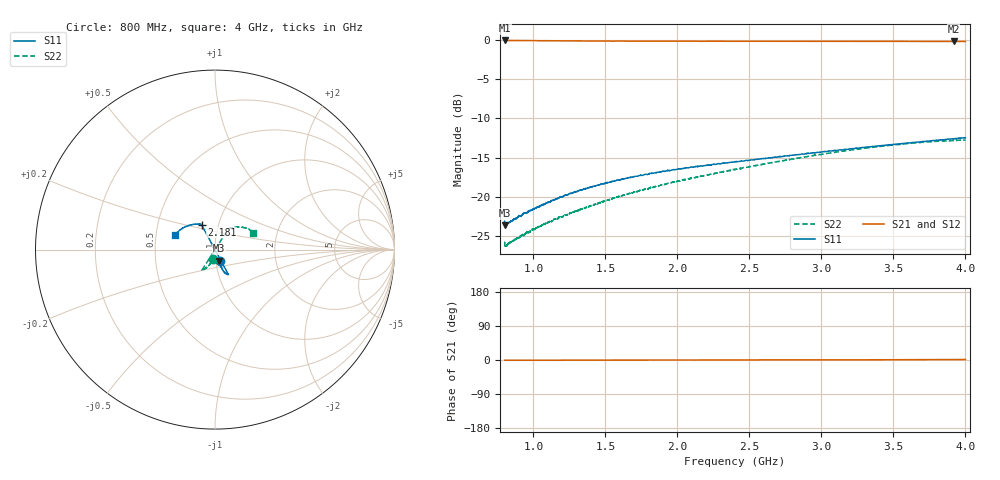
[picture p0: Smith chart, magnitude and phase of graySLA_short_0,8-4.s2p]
!Created with skrf (http://scikit-rf.org).
# GHz S RI R 50.0
!freq ReS11 ImS11 ReS21 ImS21 ReS12 ImS12 ReS22 ImS22
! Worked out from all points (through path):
!   5001 points, 800 MHz to 4 GHz, reference 50 ohm
!   highest |S21| = -0.10 dB at 802.6 MHz (marker M1); lowest = -0.2 dB at 3.917 GHz (marker M2)
!   lowest |S11| = -23.6 dB at 801.9 MHz (marker M3), VSWR 1.14, Z = 51.9 - j6.47 ohm
!   |S11| at or under -10 dB: start of sweep to end of sweep
!   |S22| runs from -26.3 to -12.8 dB; largest |S21 - S12| = 0.005
!   S11 on the Smith chart (normalised r, x): 800 MHz: 1.05, -0.14; 2.181 GHz: 0.83, +0.24; 4 GHz: 0.63, +0.11
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0.8  0.0281 -0.0642  0.9887 -0.0095  0.9889 -0.00923  -0.0129 -0.0496
0.80192  0.0222 -0.0621  0.9886 -0.00923  0.9885 -0.00907  -0.00733 -0.0482
0.80256  0.0227 -0.0623  0.989 -0.00898  0.989 -0.00938  -0.00724 -0.0482
0.81728  0.0221 -0.0641  0.9886 -0.00929  0.9887 -0.00932  -0.00682 -0.0491
0.89408  0.0255 -0.0706  0.9885 -0.0094  0.9877 -0.00831  -0.0101 -0.054
0.99328  0.0282 -0.0781  0.9872 -0.0109  0.9867 -0.00894  -0.0142 -0.0606
1.104  0.031 -0.0871  0.9851 -0.0109  0.9848 -0.00723  -0.0171 -0.0671
1.2224  0.0347 -0.0967  0.9832 -0.00922  0.9834 -0.00844  -0.0221 -0.0739
1.33376  0.0379 -0.1038  0.9819 -0.00689  0.9821 -0.00693  -0.0262 -0.0794
1.58656  0.0467 -0.1195  0.9798 -0.00447  0.9803 -0.0025  -0.0383 -0.0929
1.86688  0.0591 -0.131  0.979 -0.00162  0.9797 0.000257  -0.0531 -0.1048
2.10112  0.0701 -0.138  0.9789 -0.00271  0.9787 0.00182  -0.068 -0.1126
2.16448  0.0735 -0.139  0.9774 0.000345  0.9787 0.00173  -0.0724 -0.1149
2.18112  -0.0749 0.139  0.9772 0.000878  0.9788 0.00165  0.0734 0.1144
2.19712  -0.0751 0.1395  0.9775 0.001  0.9788 0.00206  0.0748 0.1158
2.4  -0.0886 0.1416  0.9774 0.00257  0.9784 0.00306  0.0891 0.1199
2.93376  -0.1302 0.1391  0.9767 0.00522  0.9762 0.0066  0.1327 0.1253
3.21088  -0.1542 0.1315  0.9768 0.00739  0.9758 0.00988  0.1559 0.1238
3.46688  -0.1768 0.1217  0.9758 0.0107  0.9748 0.0117  0.1766 0.1187
3.696  -0.1968 0.1079  0.9751 0.0158  0.974 0.0153  0.1932 0.1107
3.91744  -0.2165 0.089  0.974 0.0204  0.9738 0.02  0.2072 0.0975
4  -0.2245 0.0799  0.9743 0.022  0.974 0.0227  0.2108 0.0919
